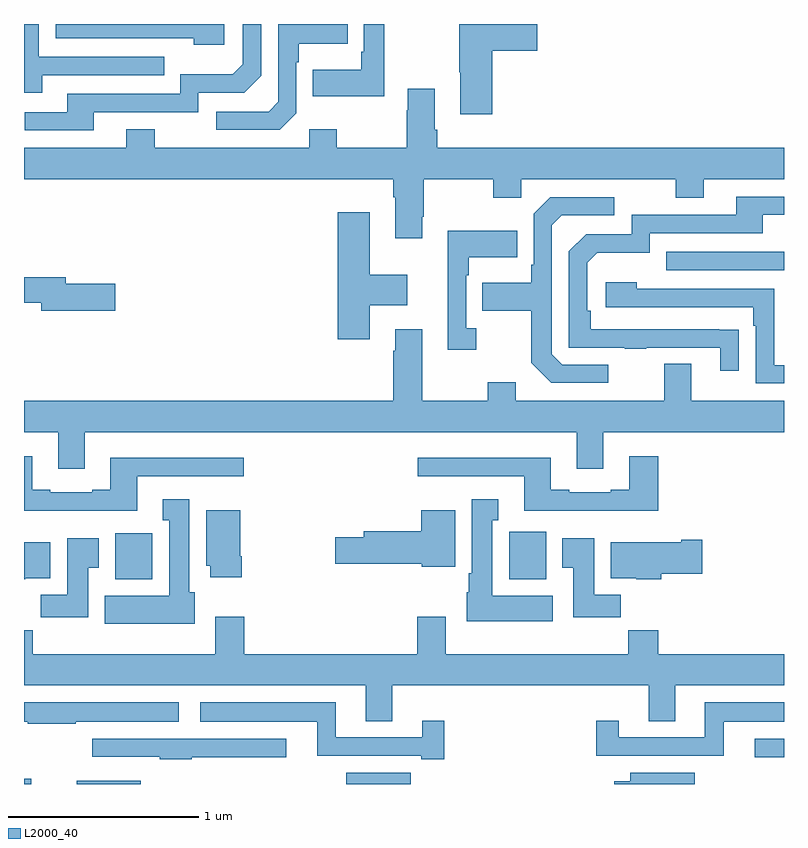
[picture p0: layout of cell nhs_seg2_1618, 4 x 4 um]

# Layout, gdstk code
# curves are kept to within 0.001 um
import gdstk
lib = gdstk.Library(unit=1e-6, precision=1e-09)
def R(c, l, rs):  # rectangles x0, y0, x1, y1
    for r in rs: c.add(gdstk.rectangle(r[:2], r[2:], *l))
def P(c, l, *ps):  # polygons
    for p in ps: c.add(gdstk.Polygon(p, *l))
L2000_40 = (2000, 40)

nhs_seg2_1618 = lib.new_cell('nhs_seg2_1618')
R(nhs_seg2_1618, L2000_40, [(195,629.8,195.037,629.827), (195.278,629.8,195.615,629.818), (196.697,629.8,197.035,629.86), (198.846,629.942,199,630.039), (195.479,630.878,195.676,631.12), (197.553,630.878,197.749,631.128), (198.379,632.505,199,632.601)])
P(nhs_seg2_1618, L2000_40, [(197.465,633.659),(197.701,633.659),(197.701,633.8),(197.29,633.8),(197.29,633.547),(197.297,633.547),(197.297,633.324),(197.465,633.324)],
  [(196.897,633.8),(196.788,633.8),(196.788,633.655),(196.776,633.655),(196.776,633.559),(196.519,633.559),(196.519,633.419),(196.897,633.419)],
  [(196.054,633.8),(195.168,633.8),(195.168,633.726),(195.893,633.726),(195.893,633.692),(196.054,633.692)],
  [(195.367,633.336),(195.918,633.336),(195.918,633.438),(196.158,633.438),(196.248,633.528),(196.248,633.8),(196.152,633.8),(196.152,633.588),(196.099,633.535),(195.822,633.535),(195.822,633.432),(195.227,633.432),(195.227,633.336),(195.003,633.336),(195.003,633.24),(195.367,633.24)],
  [(195.097,633.531),(195.737,633.531),(195.737,633.627),(195.078,633.627),(195.078,633.8),(195,633.8),(195,633.437),(195.097,633.437)],
  [(196.434,633.33),(196.434,633.599),(196.447,633.599),(196.447,633.695),(196.703,633.695),(196.703,633.8),(196.338,633.8),(196.338,633.39),(196.287,633.339),(196.011,633.339),(196.011,633.243),(196.347,633.243)],
  [(197.021,633.347),(197.014,633.347),(197.014,633.148),(196.647,633.148),(196.647,633.247),(196.5,633.247),(196.5,633.148),(195.687,633.148),(195.687,633.247),(195.539,633.247),(195.539,633.148),(195,633.148),(195,632.984),(196.943,632.984),(196.943,632.888),(196.955,632.888),(196.955,632.673),(197.095,632.673),(197.095,632.785),(197.103,632.785),(197.103,632.984),(197.47,632.984),(197.47,632.885),(197.616,632.885),(197.616,632.984),(198.43,632.984),(198.43,632.885),(198.577,632.885),(198.577,632.984),(199,632.984),(199,633.148),(197.174,633.148),(197.174,633.244),(197.161,633.244),(197.161,633.46),(197.021,633.46)],
  [(198.761,632.192),(197.984,632.193),(197.984,632.29),(197.964,632.29),(197.964,632.544),(198.017,632.597),(198.294,632.597),(198.294,632.7),(198.889,632.7),(198.889,632.796),(199,632.796),(199,632.892),(198.749,632.892),(198.749,632.796),(198.198,632.796),(198.198,632.694),(197.958,632.694),(197.868,632.604),(197.868,632.097),(198.163,632.097),(198.163,632.092),(198.275,632.092),(198.275,632.097),(198.665,632.097),(198.665,631.974),(198.761,631.974)],
  [(198.076,632.007),(197.832,632.007),(197.778,632.061),(197.778,632.742),(197.829,632.793),(198.106,632.793),(198.106,632.889),(197.769,632.889),(197.682,632.802),(197.682,632.533),(197.67,632.533),(197.67,632.437),(197.413,632.437),(197.413,632.29),(197.67,632.29),(197.67,632.017),(197.775,631.911),(198.076,631.911)],
  [(196.819,632.321),(197.017,632.321),(197.017,632.479),(196.819,632.479),(196.819,632.809),(196.652,632.809),(196.652,632.142),(196.819,632.142)],
  [(197.38,632.198),(197.328,632.198),(197.328,632.477),(197.341,632.477),(197.341,632.573),(197.597,632.573),(197.597,632.713),(197.231,632.713),(197.231,632.085),(197.38,632.085)],
  [(195.481,632.432),(195.22,632.432),(195.22,632.468),(195,632.468),(195,632.332),(195.092,632.332),(195.092,632.29),(195.481,632.29)],
  [(199,632.004),(198.948,632.004),(198.948,632.406),(198.224,632.406),(198.224,632.44),(198.063,632.44),(198.063,632.31),(198.839,632.31),(198.839,632.213),(198.852,632.213),(198.852,631.908),(199,631.908)],
  [(195.319,631.652),(197.909,631.652),(197.909,631.458),(198.049,631.458),(198.049,631.652),(199,631.652),(199,631.816),(198.511,631.816),(198.511,632.011),(198.371,632.011),(198.371,631.816),(197.587,631.816),(197.587,631.915),(197.44,631.915),(197.44,631.816),(197.095,631.816),(197.095,632.194),(196.955,632.194),(196.955,632.081),(196.943,632.081),(196.943,631.816),(195,631.816),(195,631.652),(195.179,631.652),(195.179,631.458),(195.319,631.458)],
  [(195.595,631.419),(196.156,631.419),(196.156,631.516),(195.455,631.516),(195.455,631.348),(195.359,631.348),(195.359,631.335),(195.139,631.335),(195.139,631.348),(195.043,631.348),(195.043,631.525),(195,631.525),(195,631.238),(195.595,631.238)],
  [(198.338,631.525),(198.185,631.525),(198.185,631.348),(198.089,631.348),(198.089,631.335),(197.869,631.335),(197.869,631.348),(197.773,631.348),(197.773,631.516),(197.073,631.516),(197.073,631.419),(197.633,631.419),(197.633,631.238),(198.338,631.238)],
  [(195.898,630.81),(195.871,630.81),(195.871,631.3),(195.731,631.3),(195.731,631.187),(195.764,631.187),(195.764,630.79),(195.425,630.79),(195.425,630.644),(195.898,630.644)],
  [(197.782,630.79),(197.464,630.79),(197.464,631.187),(197.497,631.187),(197.497,631.3),(197.357,631.3),(197.357,630.91),(197.342,630.91),(197.342,630.81),(197.33,630.81),(197.33,630.656),(197.782,630.656)],
  [(196.146,631),(196.138,631),(196.138,631.24),(195.959,631.24),(195.959,630.948),(195.98,630.948),(195.98,630.888),(196.146,630.888)],
  [(197.269,631.24),(197.09,631.24),(197.09,631.13),(196.787,631.13),(196.787,631.1),(196.638,631.1),(196.638,630.958),(197.094,630.958),(197.094,630.944),(197.269,630.944)],
  [(198.14,630.796),(198.001,630.796),(198.001,631.093),(197.834,631.093),(197.834,630.937),(197.891,630.937),(197.891,630.678),(198.14,630.678)],
  [(195.337,630.937),(195.394,630.937),(195.394,631.093),(195.227,631.093),(195.227,630.796),(195.088,630.796),(195.088,630.678),(195.337,630.678)],
  [(198.353,630.907),(198.571,630.907),(198.571,631.085),(198.458,631.085),(198.458,631.072),(198.089,631.072),(198.089,630.884),(198.222,630.884),(198.222,630.878),(198.353,630.878)],
  [(195.006,630.884),(195.139,630.884),(195.139,631.072),(195,631.072),(195,630.878),(195.006,630.878)],
  [(198.287,630.13),(198.427,630.13),(198.427,630.32),(199,630.32),(199,630.484),(198.338,630.484),(198.338,630.608),(198.181,630.608),(198.181,630.484),(197.221,630.484),(197.221,630.679),(197.069,630.679),(197.069,630.484),(196.16,630.484),(196.16,630.679),(196.007,630.679),(196.007,630.484),(195.047,630.484),(195.047,630.608),(195,630.608),(195,630.32),(196.799,630.32),(196.799,630.13),(196.939,630.13),(196.939,630.32),(198.287,630.32)],
  [(198.682,630.128),(199,630.128),(199,630.229),(198.584,630.229),(198.584,630.045),(198.13,630.045),(198.13,630.133),(198.013,630.133),(198.013,629.949),(198.682,629.949)],
  [(197.213,630.133),(197.096,630.133),(197.096,630.045),(196.642,630.045),(196.642,630.229),(195.927,630.229),(195.927,630.128),(196.544,630.128),(196.544,629.949),(197.09,629.949),(197.09,629.929),(197.213,629.929)],
  [(195.272,630.128),(195.814,630.128),(195.814,630.229),(195,630.229),(195,630.128),(195.019,630.128),(195.019,630.118),(195.272,630.118)],
  [(195.884,629.942),(196.381,629.942),(196.381,630.039),(195.36,630.039),(195.36,629.943),(195.715,629.943),(195.715,629.931),(195.884,629.931)],
  [(198.529,629.86),(198.191,629.86),(198.191,629.815),(198.107,629.815),(198.107,629.8),(198.529,629.8)])

lib.write_gds('nhs_seg2_1618.gds')
